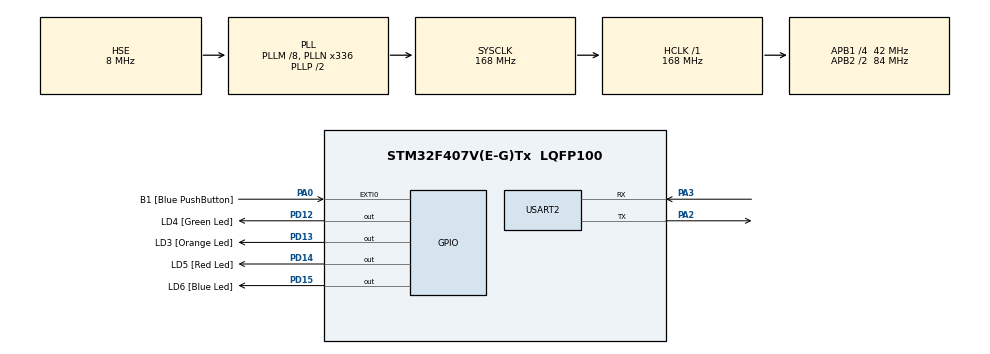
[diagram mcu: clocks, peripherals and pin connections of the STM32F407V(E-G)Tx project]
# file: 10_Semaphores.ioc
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FREERTOS.Tasks01=defaultTask,24,128,StartDefaultTask,Default,NULL,Dynamic,NULL,NULL
FREERTOS.configCHECK_FOR_STACK_OVERFLOW=2
FREERTOS.configTOTAL_HEAP_SIZE=32768
FREERTOS.configUSE_IDLE_HOOK=0
FREERTOS.configUSE_MALLOC_FAILED_HOOK=1
FREERTOS.configUSE_TICK_HOOK=0
FREERTOS.configUSE_TRACE_FACILITY=1
Mcu.Family=STM32F4
Mcu.Name=STM32F407V(E-G)Tx
Mcu.Package=LQFP100
NVIC.EXTI0_IRQn=true\:5\:0\:false\:false\:true\:true\:true\:true\:true
NVIC.PriorityGroup=NVIC_PRIORITYGROUP_4
NVIC.TIM6_DAC_IRQn=true\:15\:0\:false\:false\:true\:false\:false\:true\:true
NVIC.TimeBase=TIM6_DAC_IRQn
NVIC.TimeBaseIP=TIM6
PA0-WKUP.GPIO_Label=B1 [Blue PushButton]
PA0-WKUP.GPIO_ModeDefaultEXTI=GPIO_MODE_IT_RISING
PA0-WKUP.GPIO_PuPd=GPIO_NOPULL
PA0-WKUP.Signal=GPXTI0
PA13.GPIO_Label=SWDIO
PA13.Mode=Serial_Wire
PA13.Signal=SYS_JTMS-SWDIO
PA14.GPIO_Label=SWCLK
PA14.Mode=Serial_Wire
PA14.Signal=SYS_JTCK-SWCLK
PA2.Mode=Asynchronous
PA2.Signal=USART2_TX
PA3.Mode=Asynchronous
PA3.Signal=USART2_RX
PB3.GPIO_Label=SWO
PB3.Signal=SYS_JTDO-SWO
PC14-OSC32_IN.GPIO_Label=PC14-OSC32_IN
PC14-OSC32_IN.Mode=LSE-External-Oscillator
PC14-OSC32_IN.Signal=RCC_OSC32_IN
PC15-OSC32_OUT.GPIO_Label=PC15-OSC32_OUT
PC15-OSC32_OUT.Mode=LSE-External-Oscillator
PC15-OSC32_OUT.Signal=RCC_OSC32_OUT
PD12.GPIO_Label=LD4 [Green Led]
PD12.GPIO_PuPd=GPIO_NOPULL
PD12.GPIO_Speed=GPIO_SPEED_FREQ_LOW
PD12.Signal=GPIO_Output
PD13.GPIO_Label=LD3 [Orange Led]
PD13.GPIO_PuPd=GPIO_NOPULL
PD13.GPIO_Speed=GPIO_SPEED_FREQ_LOW
PD13.Signal=GPIO_Output
PD14.GPIO_Label=LD5 [Red Led]
PD14.GPIO_PuPd=GPIO_NOPULL
PD14.GPIO_Speed=GPIO_SPEED_FREQ_LOW
PD14.Signal=GPIO_Output
PD15.GPIO_Label=LD6 [Blue Led]
PD15.GPIO_PuPd=GPIO_NOPULL
PD15.GPIO_Speed=GPIO_SPEED_FREQ_LOW
PD15.Signal=GPIO_Output
PH0-OSC_IN.GPIO_Label=PH0-OSC_IN
PH0-OSC_IN.Mode=HSE-External-Oscillator
PH0-OSC_IN.Signal=RCC_OSC_IN
PH1-OSC_OUT.GPIO_Label=PH1-OSC_OUT
PH1-OSC_OUT.Mode=HSE-External-Oscillator
PH1-OSC_OUT.Signal=RCC_OSC_OUT
ProjectManager.HeapSize=0x200
ProjectManager.StackSize=0x400
ProjectManager.TargetToolchain=STM32CubeIDE
RCC.48MHZClocksFreq_Value=48000000
RCC.AHBFreq_Value=168000000
RCC.APB1CLKDivider=RCC_HCLK_DIV4
RCC.APB1Freq_Value=42000000
RCC.APB1TimFreq_Value=84000000
RCC.APB2CLKDivider=RCC_HCLK_DIV2
RCC.APB2Freq_Value=84000000
RCC.APB2TimFreq_Value=168000000
RCC.CortexFreq_Value=168000000
RCC.HCLKFreq_Value=168000000
RCC.HSE_VALUE=8000000
RCC.HSI_VALUE=16000000
RCC.PLLM=8
RCC.PLLN=336
RCC.PLLQ=7
RCC.PLLSourceVirtual=RCC_PLLSOURCE_HSE
RCC.SYSCLKFreq_VALUE=168000000
RCC.SYSCLKSource=RCC_SYSCLKSOURCE_PLLCLK
RCC.VCOOutputFreq_Value=336000000
USART2.VirtualMode=VM_ASYNC
VP_FREERTOS_VS_CMSIS_V2.Mode=CMSIS_V2
VP_SYS_VS_tim6.Mode=TIM6
board=STM32F407G-DISC1

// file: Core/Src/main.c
/* USER CODE BEGIN Header */
/**
  ******************************************************************************
  * @file           : main.c
  * @brief          : Main program body
  ******************************************************************************
  * @attention
  *
  * Copyright (c) 2026 STMicroelectronics.
  * All rights reserved.
  *
  * This software is licensed under terms that can be found in the LICENSE file
  * in the root directory of this software component.
  * If no LICENSE file comes with this software, it is provided AS-IS.
  *
  ******************************************************************************
  */
/* USER CODE END Header */
#include "main.h"

/* USER CODE BEGIN Includes */
#include "FreeRTOS.h"
#include "task.h"
#include "semphr.h"
#include <stdio.h>
/* USER CODE END Includes */

UART_HandleTypeDef huart2;

/* USER CODE BEGIN PV */
SemaphoreHandle_t evenSemaphore;
SemaphoreHandle_t oddSemaphore;

TaskHandle_t evenTaskHandle;
TaskHandle_t oddTaskHandle;
/* USER CODE END PV */

void SystemClock_Config(void);
static void MX_GPIO_Init(void);
static void MX_USART2_UART_Init(void);

/* USER CODE BEGIN PFP */
static void EvenTask(void *argument);
static void OddTask(void *argument);
/* USER CODE END PFP */

int main(void)
{

  /* MCU Configuration--------------------------------------------------------*/

  /* Reset of all peripherals, Initializes the Flash interface and the Systick. */
  HAL_Init();

  /* Configure the system clock */
  SystemClock_Config();

  /* Initialize all configured peripherals */
  MX_GPIO_Init();
  MX_USART2_UART_Init();

  evenSemaphore = xSemaphoreCreateBinary();
  oddSemaphore = xSemaphoreCreateBinary();

  if ((evenSemaphore == NULL) || (oddSemaphore == NULL))
  {
      Error_Handler();
  }

  xTaskCreate(EvenTask, "EvenTask", 128, NULL, 2, &evenTaskHandle);
  xTaskCreate(OddTask, "OddTask", 128, NULL, 2, &oddTaskHandle);

  xSemaphoreGive(evenSemaphore);

  /* Start FreeRTOS scheduler */
  vTaskStartScheduler();

  /* We should never get here as control is now taken by the scheduler */

  /* Infinite loop */
  while (1)
  {

  }
}

void SystemClock_Config(void)
{
  RCC_OscInitTypeDef RCC_OscInitStruct = {0};
  RCC_ClkInitTypeDef RCC_ClkInitStruct = {0};

  /** Configure the main internal regulator output voltage
  */
  __HAL_RCC_PWR_CLK_ENABLE();
  __HAL_PWR_VOLTAGESCALING_CONFIG(PWR_REGULATOR_VOLTAGE_SCALE1);

  /** Initializes the RCC Oscillators according to the specified parameters
  * in the RCC_OscInitTypeDef structure.
  */
  RCC_OscInitStruct.OscillatorType = RCC_OSCILLATORTYPE_HSE;
  RCC_OscInitStruct.HSEState = RCC_HSE_ON;
  RCC_OscInitStruct.PLL.PLLState = RCC_PLL_ON;
  RCC_OscInitStruct.PLL.PLLSource = RCC_PLLSOURCE_HSE;
  RCC_OscInitStruct.PLL.PLLM = 8;
  RCC_OscInitStruct.PLL.PLLN = 336;
  RCC_OscInitStruct.PLL.PLLP = RCC_PLLP_DIV2;
  RCC_OscInitStruct.PLL.PLLQ = 7;
  if (HAL_RCC_OscConfig(&RCC_OscInitStruct) != HAL_OK)
  {
    Error_Handler();
  }

  /** Initializes the CPU, AHB and APB buses clocks
  */
  RCC_ClkInitStruct.ClockType = RCC_CLOCKTYPE_HCLK|RCC_CLOCKTYPE_SYSCLK
                              |RCC_CLOCKTYPE_PCLK1|RCC_CLOCKTYPE_PCLK2;
  RCC_ClkInitStruct.SYSCLKSource = RCC_SYSCLKSOURCE_PLLCLK;
  RCC_ClkInitStruct.AHBCLKDivider = RCC_SYSCLK_DIV1;
  RCC_ClkInitStruct.APB1CLKDivider = RCC_HCLK_DIV4;
  RCC_ClkInitStruct.APB2CLKDivider = RCC_HCLK_DIV2;

  if (HAL_RCC_ClockConfig(&RCC_ClkInitStruct, FLASH_LATENCY_5) != HAL_OK)
  {
    Error_Handler();
  }
}

static void MX_USART2_UART_Init(void)
{

  huart2.Instance = USART2;
  huart2.Init.BaudRate = 115200;
  huart2.Init.WordLength = UART_WORDLENGTH_8B;
  huart2.Init.StopBits = UART_STOPBITS_1;
  huart2.Init.Parity = UART_PARITY_NONE;
  huart2.Init.Mode = UART_MODE_TX_RX;
  huart2.Init.HwFlowCtl = UART_HWCONTROL_NONE;
  huart2.Init.OverSampling = UART_OVERSAMPLING_16;
  if (HAL_UART_Init(&huart2) != HAL_OK)
  {
    Error_Handler();
  }

}

static void MX_GPIO_Init(void)
{
  GPIO_InitTypeDef GPIO_InitStruct = {0};

  /* GPIO Ports Clock Enable */
  __HAL_RCC_GPIOC_CLK_ENABLE();
  __HAL_RCC_GPIOH_CLK_ENABLE();
  __HAL_RCC_GPIOA_CLK_ENABLE();
  __HAL_RCC_GPIOD_CLK_ENABLE();
  __HAL_RCC_GPIOB_CLK_ENABLE();

  /*Configure GPIO pin Output Level */
  HAL_GPIO_WritePin(GPIOD, LD4_Pin|LD3_Pin|LD5_Pin|LD6_Pin, GPIO_PIN_RESET);

  /*Configure GPIO pin : B1_Pin */
  GPIO_InitStruct.Pin = B1_Pin;
  GPIO_InitStruct.Mode = GPIO_MODE_IT_RISING;
  GPIO_InitStruct.Pull = GPIO_NOPULL;
  HAL_GPIO_Init(B1_GPIO_Port, &GPIO_InitStruct);

  /*Configure GPIO pins : LD4_Pin LD3_Pin LD5_Pin LD6_Pin */
  GPIO_InitStruct.Pin = LD4_Pin|LD3_Pin|LD5_Pin|LD6_Pin;
  GPIO_InitStruct.Mode = GPIO_MODE_OUTPUT_PP;
  GPIO_InitStruct.Pull = GPIO_NOPULL;
  GPIO_InitStruct.Speed = GPIO_SPEED_FREQ_LOW;
  HAL_GPIO_Init(GPIOD, &GPIO_InitStruct);

  /* EXTI interrupt init*/
  HAL_NVIC_SetPriority(EXTI0_IRQn, 5, 0);
  HAL_NVIC_EnableIRQ(EXTI0_IRQn);

}

/* USER CODE BEGIN 4 */
static void EvenTask(void *argument)
{
    uint32_t evenNumber = 0;
    char msg[50];
    int len;

    for (;;)
    {
        /* Wait until EvenTask gets permission */
        xSemaphoreTake(evenSemaphore, portMAX_DELAY);

        len = snprintf(msg, sizeof(msg), "EVEN: %lu\r\n", evenNumber);

        HAL_UART_Transmit(&huart2, (uint8_t *)msg, len, HAL_MAX_DELAY);

        evenNumber += 2;

        /* Give permission to OddTask */
        xSemaphoreGive(oddSemaphore);

        vTaskDelay(pdMS_TO_TICKS(1000));
    }
}

static void OddTask(void *argument)
{
    uint32_t oddNumber = 1;
    char msg[50];
    int len;

    for (;;)
    {
        /* Wait until OddTask gets permission */
        xSemaphoreTake(oddSemaphore, portMAX_DELAY);

        len = snprintf(msg, sizeof(msg), "ODD: %lu\r\n", oddNumber);

        HAL_UART_Transmit(&huart2, (uint8_t *)msg, len, HAL_MAX_DELAY);

        oddNumber += 2;

        /* Give permission to EvenTask */
        xSemaphoreGive(evenSemaphore);

        vTaskDelay(pdMS_TO_TICKS(1000));
    }
}
/* USER CODE END 4 */

void HAL_TIM_PeriodElapsedCallback(TIM_HandleTypeDef *htim)
{
  if (htim->Instance == TIM6)
  {
    HAL_IncTick();
  }
}

void Error_Handler(void)
{
  __disable_irq();
  while (1)
  {
  }
}
